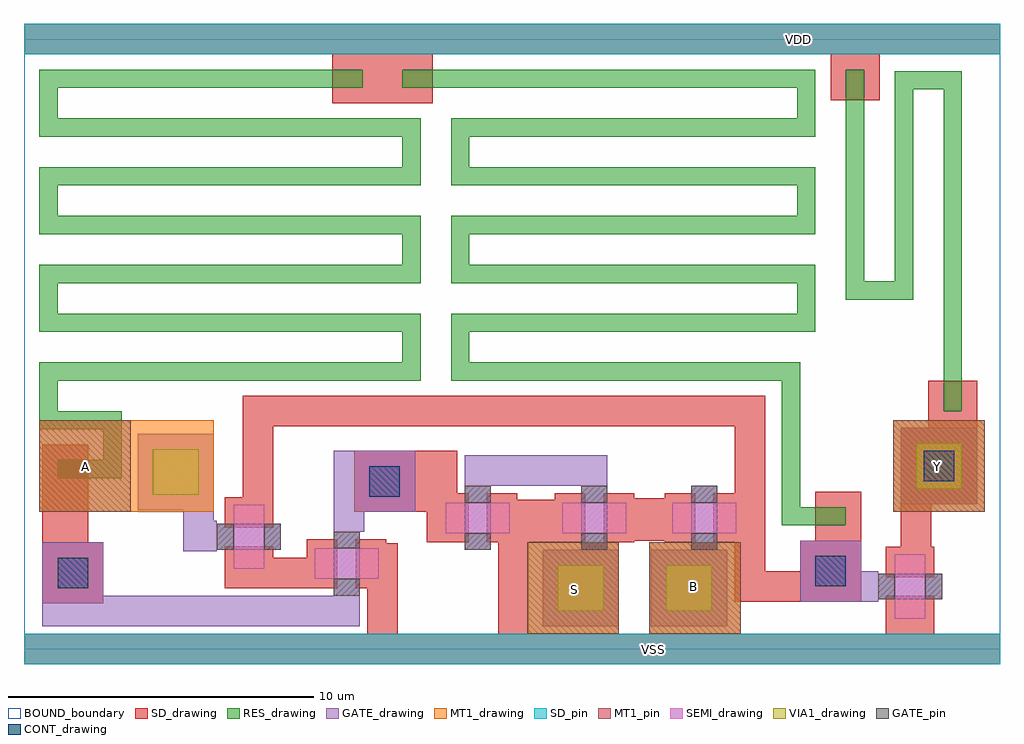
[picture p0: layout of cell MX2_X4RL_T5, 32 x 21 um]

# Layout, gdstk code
from math import pi, radians
import gdstk
lib = gdstk.Library(unit=1e-6, precision=1e-09)
def R(c, l, rs):  # rectangles x0, y0, x1, y1
    for r in rs: c.add(gdstk.rectangle(r[:2], r[2:], *l))
def P(c, l, *ps):  # polygons
    for p in ps: c.add(gdstk.Polygon(p, *l))
RES_drawing = (1, 0)
SEMI_drawing = (3, 0)
SD_drawing = (10, 0)
SD_pin = (10, 3)
GATE_drawing = (11, 0)
GATE_pin = (11, 3)
MT1_drawing = (20, 0)
MT1_pin = (20, 3)
CONT_drawing = (30, 0)
VIA1_drawing = (41, 0)
BOUND_boundary = (150, 5)

nch_cdns_772544974170 = lib.new_cell('nch_CDNS_772544974170')
R(nch_cdns_772544974170, SEMI_drawing, [(-1.05,-0.5,1.05,0.5)])
R(nch_cdns_772544974170, SD_drawing, [(-1.3,-0.8,-0.3,0.8), (0.3,-0.8,1.3,0.8)])
R(nch_cdns_772544974170, GATE_drawing, [(-0.425,-1.05,0.425,1.05)])
R(nch_cdns_772544974170, GATE_pin, [(-0.425,-1.05,0.425,-0.5), (-0.425,0.5,0.425,1.05)])

sd_gate_cdns_77254497417 = lib.new_cell('SD_GATE_CDNS_772544974170')
R(sd_gate_cdns_77254497417, SD_drawing, [(-1,-1,1,1)])
R(sd_gate_cdns_77254497417, GATE_drawing, [(-1,-1,1,1)])
R(sd_gate_cdns_77254497417, CONT_drawing, [(-0.5,-0.5,0.5,0.5)])

gate_mt1_cdns_7725449741 = lib.new_cell('GATE_MT1_CDNS_772544974171')
R(gate_mt1_cdns_7725449741, GATE_drawing, [(-1.25,-1.25,1.25,1.25)])
R(gate_mt1_cdns_7725449741, MT1_drawing, [(-1.25,-1.25,1.25,1.25)])
R(gate_mt1_cdns_7725449741, VIA1_drawing, [(-0.75,-0.75,0.75,0.75)])

gate_mt1_stack_cdns_7725 = lib.new_cell('GATE_MT1_STACK_CDNS_772544974172')
R(gate_mt1_stack_cdns_7725, GATE_drawing, [(-1.25,-1.25,1.25,1.25)])
R(gate_mt1_stack_cdns_7725, MT1_drawing, [(-1.25,-1.25,1.25,1.25)])
R(gate_mt1_stack_cdns_7725, VIA1_drawing, [(-0.75,-0.75,0.75,0.75)])

mx2_x4rl_t5 = lib.new_cell('MX2_X4RL_T5')
R(mx2_x4rl_t5, SD_drawing, [(0.6,3.5,2.1,6.7), (25.95,3.55,27.45,5.15), (28.75,4.75,31.25,7.25), (29.65,7.25,31.25,8.8), (10.1,17.9,13.4,19.5), (26.45,18,28.05,19.5)])
P(mx2_x4rl_t5, SD_drawing, [(14.2,6.5),(11.55,6.5),(11.55,4.5),(13.2,4.5),(13.2,3.5),(14.2,3.5)])
R(mx2_x4rl_t5, SD_pin, [(0,-0.5,32,0.5), (0,19.5,32,20.5)])
P(mx2_x4rl_t5, GATE_drawing, [(27.9,2.55),(27.9,1.55),(28,1.55),(28,1.675),(28.05,1.675),(28.05,2.425),(28,2.425),(28,2.55)],
  [(6.225,4.2),(6.225,3.2),(6.325,3.2),(6.325,3.3),(6.375,3.3),(6.375,4.05),(6.325,4.05),(6.325,4.2)],
  [(10,1.65),(11,1.65),(11,1.8),(10.25,1.8),(10.25,1.75),(10,1.75)],
  [(11.15,3.95),(10.15,3.95),(10.15,3.8),(10.9,3.8),(10.9,3.85),(11.15,3.85)],
  [(15.35,5.45),(14.45,5.45),(14.45,5.3),(15.2,5.3),(15.2,5.35),(15.35,5.35)],
  [(21.775,3.15),(22.775,3.15),(22.775,3.25),(22.675,3.25),(22.675,3.3),(21.925,3.3),(21.925,3.25),(21.775,3.25)],
  [(18.175,3.15),(19.175,3.15),(19.175,3.25),(19.075,3.25),(19.075,3.3),(18.325,3.3),(18.325,3.25),(18.175,3.25)],
  [(19.125,5.45),(18.275,5.45),(18.275,5.35),(18.375,5.35),(18.375,5.3),(19.125,5.3)])
R(mx2_x4rl_t5, MT1_drawing, [(16.5,0.5,19.5,3.5), (20.5,0.5,23.5,3.5), (0.5,4.5,6.225,7.5), (28.5,4.5,31.5,7.5)])
R(mx2_x4rl_t5, MT1_pin, [(16.5,0.5,19.5,3.5), (20.5,0.5,23.5,3.5), (0.5,4.5,3.5,7.5), (28.5,4.5,31.5,7.5)])
R(mx2_x4rl_t5, BOUND_boundary, [(0,0,32,20)])
mx2_x4rl_t5.add(gdstk.FlexPath([(1.1,5.9),(2.9,5.9),(2.9,7.5),(0.8,7.5),(0.8,9.1),(12.7,9.1),(12.7,10.7),(0.8,10.7),(0.8,12.3),(12.7,12.3),(12.7,13.9),(0.8,13.9),(0.8,15.5),(12.7,15.5),(12.7,17.1),(0.8,17.1),(0.8,18.7),(11.1,18.7)], 0.6, ends="flush", simple_path=True, layer=1, datatype=0))  # RES_drawing
mx2_x4rl_t5.add(gdstk.FlexPath([(27.25,19),(27.25,11.75),(28.85,11.75),(28.85,18.65),(30.45,18.65),(30.45,7.8)], 0.6, ends="flush", simple_path=True, layer=1, datatype=0))  # RES_drawing
mx2_x4rl_t5.add(gdstk.FlexPath([(26.95,4.35),(25.15,4.35),(25.15,9.1),(14.3,9.1),(14.3,10.7),(25.65,10.7),(25.65,12.3),(14.3,12.3),(14.3,13.9),(25.65,13.9),(25.65,15.5),(14.3,15.5),(14.3,17.1),(25.65,17.1),(25.65,18.7),(12.4,18.7)], 0.6, ends="flush", simple_path=True, layer=1, datatype=0))  # RES_drawing
mx2_x4rl_t5.add(gdstk.FlexPath([(29.05,0),(32,0)], 1, ends=(0.8, 0), simple_path=True, layer=10, datatype=0))  # SD_drawing
mx2_x4rl_t5.add(gdstk.FlexPath([(23.8,7.8),(23.8,2.05)], 1, ends="extended", simple_path=True, layer=10, datatype=0))  # SD_drawing
mx2_x4rl_t5.add(gdstk.FlexPath([(16.05,0),(29.05,0)], 1, ends=(0.5, 0.8), simple_path=True, layer=10, datatype=0))  # SD_drawing
mx2_x4rl_t5.add(gdstk.FlexPath([(0,0),(11.75,0)], 1, ends=(0, 0.5), simple_path=True, layer=10, datatype=0))  # SD_drawing
mx2_x4rl_t5.add(gdstk.FlexPath([(29.25,7.25),(29.25,3.35)], 1, ends="flush", simple_path=True, layer=10, datatype=0))  # SD_drawing
mx2_x4rl_t5.add(gdstk.FlexPath([(29.05,0),(29.05,-0.5)], 1.6, ends=(0.5, 0), simple_path=True, layer=10, datatype=0))  # SD_drawing
mx2_x4rl_t5.add(gdstk.FlexPath([(23.8,2.05),(25.85,2.05)], 1, ends="extended", simple_path=True, layer=10, datatype=0))  # SD_drawing
mx2_x4rl_t5.add(gdstk.FlexPath([(6.575,2.5),(9.275,2.5)], 1, ends="flush", simple_path=True, layer=10, datatype=0))  # SD_drawing
mx2_x4rl_t5.add(gdstk.FlexPath([(11.75,0),(16.05,0)], 1, ends="extended", simple_path=True, layer=10, datatype=0))  # SD_drawing
mx2_x4rl_t5.add(gdstk.FlexPath([(7.675,4.975),(7.675,7.8)], 1, ends=(0, 0.5), simple_path=True, layer=10, datatype=0))  # SD_drawing
mx2_x4rl_t5.add(gdstk.FlexPath([(7.675,7.8),(23.8,7.8)], 1, ends="extended", simple_path=True, layer=10, datatype=0))  # SD_drawing
mx2_x4rl_t5.add(gdstk.FlexPath([(11.75,3.475),(11.75,0)], 1, ends=(0, 0.5), simple_path=True, layer=10, datatype=0))  # SD_drawing
mx2_x4rl_t5.add(gdstk.FlexPath([(21,4.25),(20,4.25)], 1.4, ends="flush", simple_path=True, layer=10, datatype=0))  # SD_drawing
mx2_x4rl_t5.add(gdstk.FlexPath([(16.05,0),(16.05,2.8)], 1, ends=(0.5, 0.7), simple_path=True, layer=10, datatype=0))  # SD_drawing
mx2_x4rl_t5.add(gdstk.FlexPath([(16.175,4.2),(17.4,4.2)], 1.4, ends="flush", simple_path=True, layer=10, datatype=0))  # SD_drawing
mx2_x4rl_t5.add(gdstk.FlexPath([(0,20),(32,20)], 1, ends="flush", simple_path=True, layer=10, datatype=0))  # SD_drawing
mx2_x4rl_t5.add(gdstk.FlexPath([(29.05,0.75),(29.05,0)], 1.6, ends=(0, 0.5), simple_path=True, layer=10, datatype=0))  # SD_drawing
mx2_x4rl_t5.add(gdstk.FlexPath([(25.95,2.05),(28,2.05)], 1, ends=(0.5, 0), simple_path=True, layer=11, datatype=0))  # GATE_drawing
mx2_x4rl_t5.add(gdstk.FlexPath([(10.5,1.25),(1.1,1.25)], 1, ends="extended", simple_path=True, layer=11, datatype=0))  # GATE_drawing
mx2_x4rl_t5.add(gdstk.FlexPath([(10.5,1.75),(10.5,1.25)], 1, ends=(0, 0.5), simple_path=True, layer=11, datatype=0))  # GATE_drawing
mx2_x4rl_t5.add(gdstk.FlexPath([(10.65,6),(11.475,6)], 1, ends="extended", simple_path=True, layer=11, datatype=0))  # GATE_drawing
mx2_x4rl_t5.add(gdstk.FlexPath([(10.65,3.85),(10.65,6)], 1, ends=(0, 0.5), simple_path=True, layer=11, datatype=0))  # GATE_drawing
mx2_x4rl_t5.add(gdstk.FlexPath([(5.725,4.55),(5.725,3.2)], 1, ends="flush", simple_path=True, layer=11, datatype=0))  # GATE_drawing
mx2_x4rl_t5.add(gdstk.FlexPath([(18.625,5.85),(14.95,5.85)], 1, ends="extended", simple_path=True, layer=11, datatype=0))  # GATE_drawing
mx2_x4rl_t5.add(gdstk.Reference(nch_cdns_772544974170, (14.875,4.3), rotation=pi, x_reflection=True))
mx2_x4rl_t5.add(gdstk.Reference(nch_cdns_772544974170, (18.7,4.3)))
mx2_x4rl_t5.add(gdstk.Reference(nch_cdns_772544974170, (10.575,2.8), rotation=pi, x_reflection=True))
mx2_x4rl_t5.add(gdstk.Reference(nch_cdns_772544974170, (29.05,2.05), rotation=pi/2))
mx2_x4rl_t5.add(gdstk.Reference(nch_cdns_772544974170, (22.3,4.3)))
mx2_x4rl_t5.add(gdstk.Reference(nch_cdns_772544974170, (7.375,3.675), rotation=3*pi/2))
mx2_x4rl_t5.add(gdstk.Reference(sd_gate_cdns_77254497417, (30,6)))
mx2_x4rl_t5.add(gdstk.Reference(sd_gate_cdns_77254497417, (26.45,2.55)))
mx2_x4rl_t5.add(gdstk.Reference(sd_gate_cdns_77254497417, (1.6,2.5)))
mx2_x4rl_t5.add(gdstk.Reference(sd_gate_cdns_77254497417, (11.825,5.5)))
mx2_x4rl_t5.add(gdstk.Reference(gate_mt1_cdns_7725449741, (30,6)))
mx2_x4rl_t5.add(gdstk.Reference(gate_mt1_stack_cdns_7725, (4.975,5.8)))
mx2_x4rl_t5.add(gdstk.Reference(gate_mt1_stack_cdns_7725, (21.8,2)))
mx2_x4rl_t5.add(gdstk.Reference(gate_mt1_stack_cdns_7725, (18.25,2)))
mx2_x4rl_t5.add(gdstk.Label('Y', (29.95,6), layer=20, texttype=3))
mx2_x4rl_t5.add(gdstk.Label('B', (21.95,2.05), layer=20, texttype=3))
mx2_x4rl_t5.add(gdstk.Label('S', (18.05,1.95), layer=20, texttype=3))
mx2_x4rl_t5.add(gdstk.Label('A', (2,6), layer=20, texttype=3))
mx2_x4rl_t5.add(gdstk.Label('VSS', (20.65,0), layer=10, texttype=3))
mx2_x4rl_t5.add(gdstk.Label('VDD', (25.4,20), layer=10, texttype=3))

lib.write_gds('MX2_X4RL_T5.gds')
